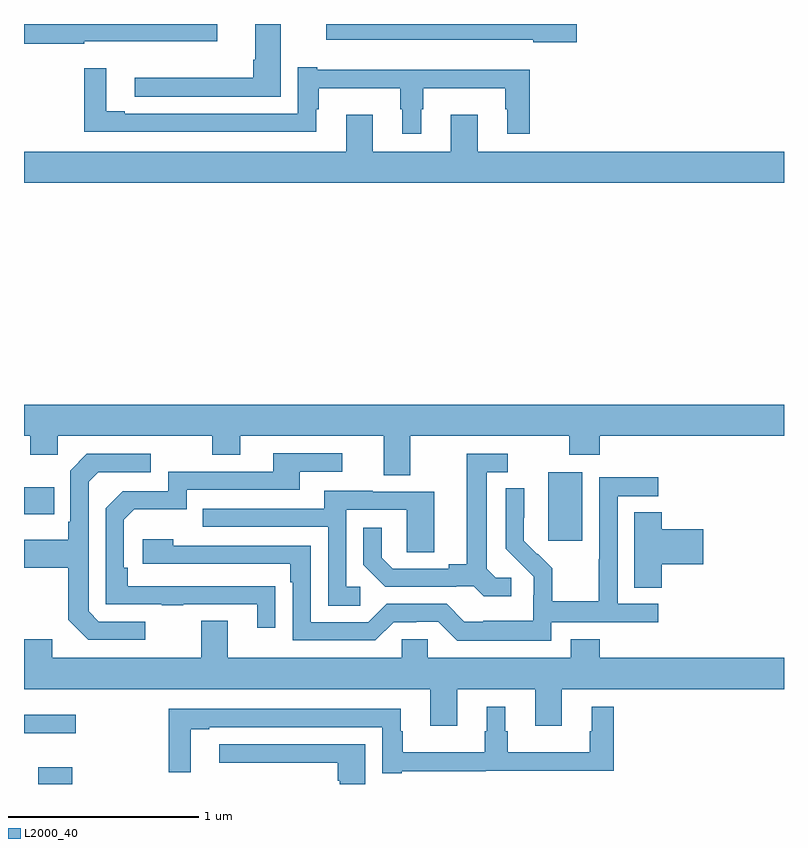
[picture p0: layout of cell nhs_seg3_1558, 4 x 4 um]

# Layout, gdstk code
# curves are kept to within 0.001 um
import gdstk
lib = gdstk.Library(unit=1e-6, precision=1e-09)
def R(c, l, rs):  # rectangles x0, y0, x1, y1
    for r in rs: c.add(gdstk.rectangle(r[:2], r[2:], *l))
def P(c, l, *ps):  # polygons
    for p in ps: c.add(gdstk.Polygon(p, *l))
L2000_40 = (2000, 40)

nhs_seg3_1558 = lib.new_cell('nhs_seg3_1558')
R(nhs_seg3_1558, L2000_40, [(191.075,716.4,191.254,716.488), (191,716.667,191.272,716.764), (193.76,717.681,193.939,718.042), (191,717.821,191.159,717.961)])
P(nhs_seg3_1558, L2000_40, [(193.909,720.4),(192.591,720.4),(192.591,720.317),(193.68,720.317),(193.68,720.305),(193.909,720.305)],
  [(191.316,720.308),(192.016,720.308),(192.016,720.4),(191,720.4),(191,720.296),(191.316,720.296)],
  [(192.352,720.4),(192.218,720.4),(192.218,720.211),(192.206,720.211),(192.206,720.116),(191.583,720.116),(191.583,720.018),(192.352,720.018)],
  [(193.09,719.951),(193.102,719.951),(193.102,720.062),(193.533,720.062),(193.533,719.951),(193.544,719.951),(193.544,719.823),(193.661,719.823),(193.661,720.16),(192.544,720.16),(192.544,720.172),(192.441,720.172),(192.441,719.928),(191.53,719.928),(191.53,719.941),(191.434,719.941),(191.434,720.166),(191.317,720.166),(191.317,719.832),(192.538,719.832),(192.538,719.951),(192.55,719.951),(192.55,720.062),(192.981,720.062),(192.981,719.951),(192.992,719.951),(192.992,719.823),(193.09,719.823)],
  [(195,719.728),(193.387,719.728),(193.387,719.923),(193.247,719.923),(193.247,719.728),(192.835,719.728),(192.835,719.923),(192.695,719.923),(192.695,719.728),(191,719.728),(191,719.564),(195,719.564)],
  [(193.033,718.232),(193.87,718.232),(193.87,718.133),(194.03,718.133),(194.03,718.232),(195,718.232),(195,718.396),(191,718.396),(191,718.232),(191.032,718.232),(191.032,718.133),(191.178,718.133),(191.178,718.232),(191.992,718.232),(191.992,718.133),(192.139,718.133),(192.139,718.232),(192.893,718.232),(192.893,718.024),(193.033,718.024)],
  [(192.323,717.44),(191.546,717.441),(191.546,717.538),(191.526,717.538),(191.526,717.792),(191.579,717.845),(191.856,717.845),(191.856,717.948),(192.451,717.948),(192.451,718.044),(192.676,718.044),(192.676,718.14),(192.311,718.14),(192.311,718.044),(191.76,718.044),(191.76,717.942),(191.52,717.942),(191.43,717.852),(191.43,717.345),(191.725,717.345),(191.725,717.34),(191.837,717.34),(191.837,717.345),(192.227,717.345),(192.227,717.222),(192.323,717.222)],
  [(191.638,717.255),(191.394,717.255),(191.34,717.309),(191.34,717.99),(191.391,718.041),(191.668,718.041),(191.668,718.137),(191.331,718.137),(191.244,718.05),(191.244,717.781),(191.232,717.781),(191.232,717.685),(191,717.685),(191,717.538),(191.232,717.538),(191.232,717.265),(191.337,717.159),(191.638,717.159)],
  [(193.564,717.486),(193.482,717.486),(193.435,717.533),(193.435,718.041),(193.546,718.041),(193.546,718.137),(193.331,718.137),(193.331,717.557),(193.235,717.557),(193.235,717.534),(192.94,717.534),(192.883,717.591),(192.883,717.748),(192.786,717.748),(192.786,717.554),(192.902,717.438),(193.274,717.438),(193.274,717.441),(193.368,717.441),(193.42,717.389),(193.564,717.389)],
  [(193.776,717.252),(194.338,717.252),(194.338,717.348),(194.124,717.348),(194.124,717.915),(194.338,717.915),(194.338,718.014),(194.028,718.014),(194.028,717.584),(194.026,717.584),(194.026,717.361),(193.781,717.361),(193.781,717.535),(193.704,717.612),(193.701,717.609),(193.631,717.68),(193.632,717.956),(193.536,717.956),(193.536,717.638),(193.682,717.49),(193.682,717.393),(193.68,717.393),(193.68,717.259),(193.417,717.259),(193.417,717.255),(193.317,717.255),(193.224,717.348),(192.909,717.348),(192.813,717.252),(192.51,717.252),(192.51,717.654),(191.786,717.654),(191.786,717.688),(191.625,717.688),(191.625,717.558),(192.401,717.558),(192.401,717.461),(192.414,717.461),(192.414,717.156),(192.849,717.156),(192.945,717.252),(193.064,717.252),(193.064,717.255),(193.179,717.255),(193.279,717.155),(193.776,717.155)],
  [(192.769,717.438),(192.696,717.438),(192.696,717.843),(193.014,717.843),(193.014,717.619),(193.159,717.619),(193.159,717.939),(192.835,717.939),(192.835,717.943),(192.581,717.943),(192.581,717.849),(191.941,717.849),(191.941,717.753),(192.6,717.753),(192.6,717.337),(192.769,717.337)],
  [(194.357,717.557),(194.575,717.557),(194.575,717.74),(194.357,717.74),(194.357,717.83),(194.213,717.83),(194.213,717.433),(194.357,717.433)],
  [(193.877,717.163),(193.877,717.064),(193.125,717.064),(193.125,717.162),(192.987,717.162),(192.987,717.064),(192.073,717.064),(192.073,717.259),(191.933,717.259),(191.933,717.064),(191.149,717.064),(191.149,717.163),(191.002,717.163),(191.002,717.064),(191,717.064),(191,716.9),(193.139,716.9),(193.139,716.706),(193.279,716.706),(193.279,716.9),(193.691,716.9),(193.691,716.706),(193.831,716.706),(193.831,716.9),(195,716.9),(195,717.064),(194.03,717.064),(194.03,717.163)],
  [(192.988,716.468),(193.43,716.468),(193.43,716.469),(194.105,716.469),(194.105,716.806),(193.988,716.806),(193.988,716.678),(193.977,716.678),(193.977,716.566),(193.546,716.566),(193.546,716.678),(193.534,716.678),(193.534,716.806),(193.436,716.806),(193.436,716.678),(193.425,716.678),(193.425,716.566),(192.994,716.566),(192.994,716.678),(192.982,716.678),(192.982,716.796),(191.761,716.796),(191.761,716.463),(191.878,716.463),(191.878,716.688),(191.974,716.688),(191.974,716.7),(192.885,716.7),(192.885,716.457),(192.988,716.457)],
  [(192.796,716.61),(192.027,716.61),(192.027,716.513),(192.65,716.513),(192.65,716.417),(192.662,716.417),(192.662,716.4),(192.796,716.4)])

lib.write_gds('nhs_seg3_1558.gds')
